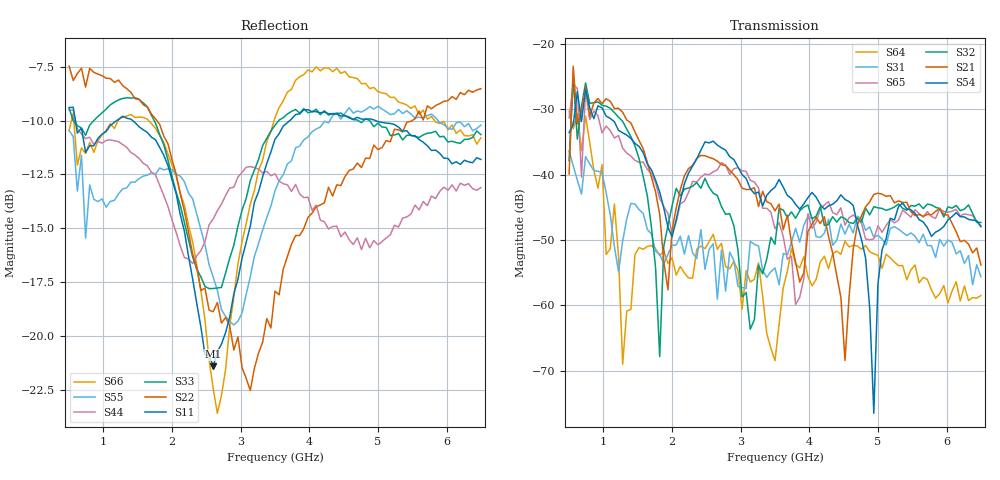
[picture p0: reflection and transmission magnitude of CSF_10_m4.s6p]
!Keysight Technologies,M9804A,MY58100912,A.14.10.03
!Date: Thursday, April 27, 2023 10:28:33
!Correction: S11(C  6-Port  )
!S12(C  6-Port  )
!S13(C  6-Port  )
!S14(C  6-Port  )
!S15(C  6-Port  )
!S16(C  6-Port  )
!S21(C  6-Port  )
!S22(C  6-Port  )
!S23(C  6-Port  )
!S24(C  6-Port  )
!S25(C  6-Port  )
!S26(C  6-Port  )
!S31(C  6-Port  )
!S32(C  6-Port  )
!S33(C  6-Port  )
!S34(C  6-Port  )
!S35(C  6-Port  )
!S36(C  6-Port  )
!S41(C  6-Port  )
!S42(C  6-Port  )
!S43(C  6-Port  )
!S44(C  6-Port  )
!S45(C  6-Port  )
!S46(C  6-Port  )
!S51(C  6-Port  )
!S52(C  6-Port  )
!S53(C  6-Port  )
!S54(C  6-Port  )
!S55(C  6-Port  )
!S56(C  6-Port  )
!S61(C  6-Port  )
!S62(C  6-Port  )
!S63(C  6-Port  )
!S64(C  6-Port  )
!S65(C  6-Port  )
!S66(C  6-Port  )
!S6P File: Measurement: :
# Hz S  RI  R 50
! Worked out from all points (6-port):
!   101 points, 500 MHz to 6.5 GHz, reference 50 ohm
!   strongest paths, dB at 500 MHz, 2 GHz, 3.5 GHz, 5 GHz, 6.5 GHz:
!     S54: -33.6, -49.5, -41.9, -56.7, -48.0
!     S21: -39.9, -48.4, -45.5, -42.8, -53.8
!     S32: -37.9, -44.8, -50.7, -45.1, -47.3
!     S65: -31.3, -49.1, -48.3, -47.8, -47.8
!     S31: -36.4, -50.8, -54.3, -49.3, -55.6
!     S64: -30.3, -52.7, -68.5, -52.3, -58.5
!   lowest |S11| = -21.4 dB at 2.6 GHz (marker M1), VSWR 1.19, Z = 42.5 + j2.2 ohm
!   |S11| at or under -10 dB: 591 MHz to 1.193 GHz (601.9 MHz wide, 67.5 % of centre); 1.427 GHz to 3.714 GHz (2.288 GHz wide, 89 % of centre); 4.965 GHz to end of sweep
